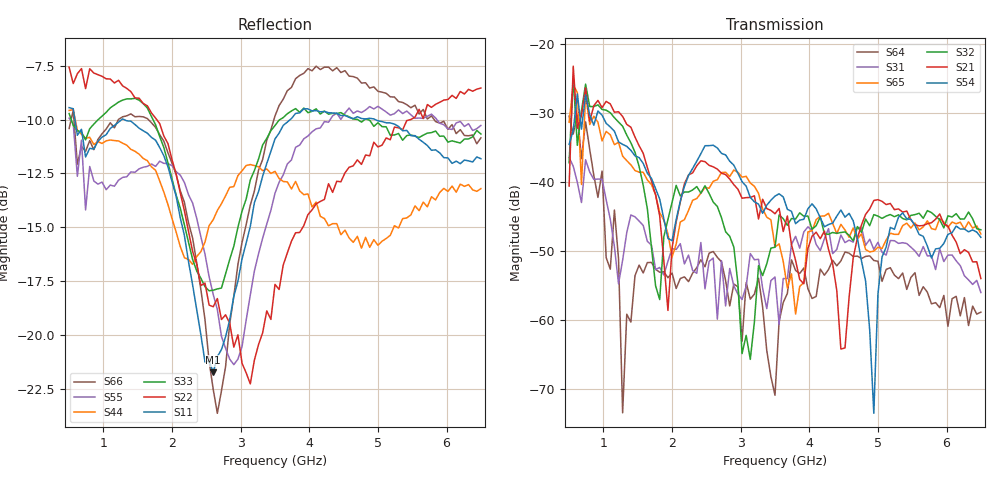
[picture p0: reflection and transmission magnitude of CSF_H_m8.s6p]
!Keysight Technologies,M9804A,MY58100912,A.14.10.03
!Date: Thursday, April 27, 2023 10:28:33
!Correction: S11(C  6-Port  )
!S12(C  6-Port  )
!S13(C  6-Port  )
!S14(C  6-Port  )
!S15(C  6-Port  )
!S16(C  6-Port  )
!S21(C  6-Port  )
!S22(C  6-Port  )
!S23(C  6-Port  )
!S24(C  6-Port  )
!S25(C  6-Port  )
!S26(C  6-Port  )
!S31(C  6-Port  )
!S32(C  6-Port  )
!S33(C  6-Port  )
!S34(C  6-Port  )
!S35(C  6-Port  )
!S36(C  6-Port  )
!S41(C  6-Port  )
!S42(C  6-Port  )
!S43(C  6-Port  )
!S44(C  6-Port  )
!S45(C  6-Port  )
!S46(C  6-Port  )
!S51(C  6-Port  )
!S52(C  6-Port  )
!S53(C  6-Port  )
!S54(C  6-Port  )
!S55(C  6-Port  )
!S56(C  6-Port  )
!S61(C  6-Port  )
!S62(C  6-Port  )
!S63(C  6-Port  )
!S64(C  6-Port  )
!S65(C  6-Port  )
!S66(C  6-Port  )
!S6P File: Measurement: :
# Hz S  RI  R 50
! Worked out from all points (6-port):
!   101 points, 500 MHz to 6.5 GHz, reference 50 ohm
!   strongest paths, dB at 500 MHz, 2 GHz, 3.5 GHz, 5 GHz, 6.5 GHz:
!     S54: -34.5, -48.5, -42.0, -56.2, -48.0
!     S21: -40.5, -49.5, -44.6, -42.5, -54.0
!     S32: -37.2, -42.9, -49.4, -44.9, -46.9
!     S65: -31.3, -50.8, -49.4, -49.4, -47.5
!     S31: -36.4, -49.6, -53.7, -48.7, -56.0
!     S64: -30.4, -53.2, -70.9, -51.4, -58.8
!   lowest |S11| = -21.7 dB at 2.6 GHz (marker M1), VSWR 1.18, Z = 42.7 + j1.94 ohm
!   |S11| at or under -10 dB: 584.6 MHz to 1.268 GHz (683.2 MHz wide, 73.8 % of centre); 1.301 GHz to 3.721 GHz (2.421 GHz wide, 96.4 % of centre); 4.961 GHz to end of sweep
